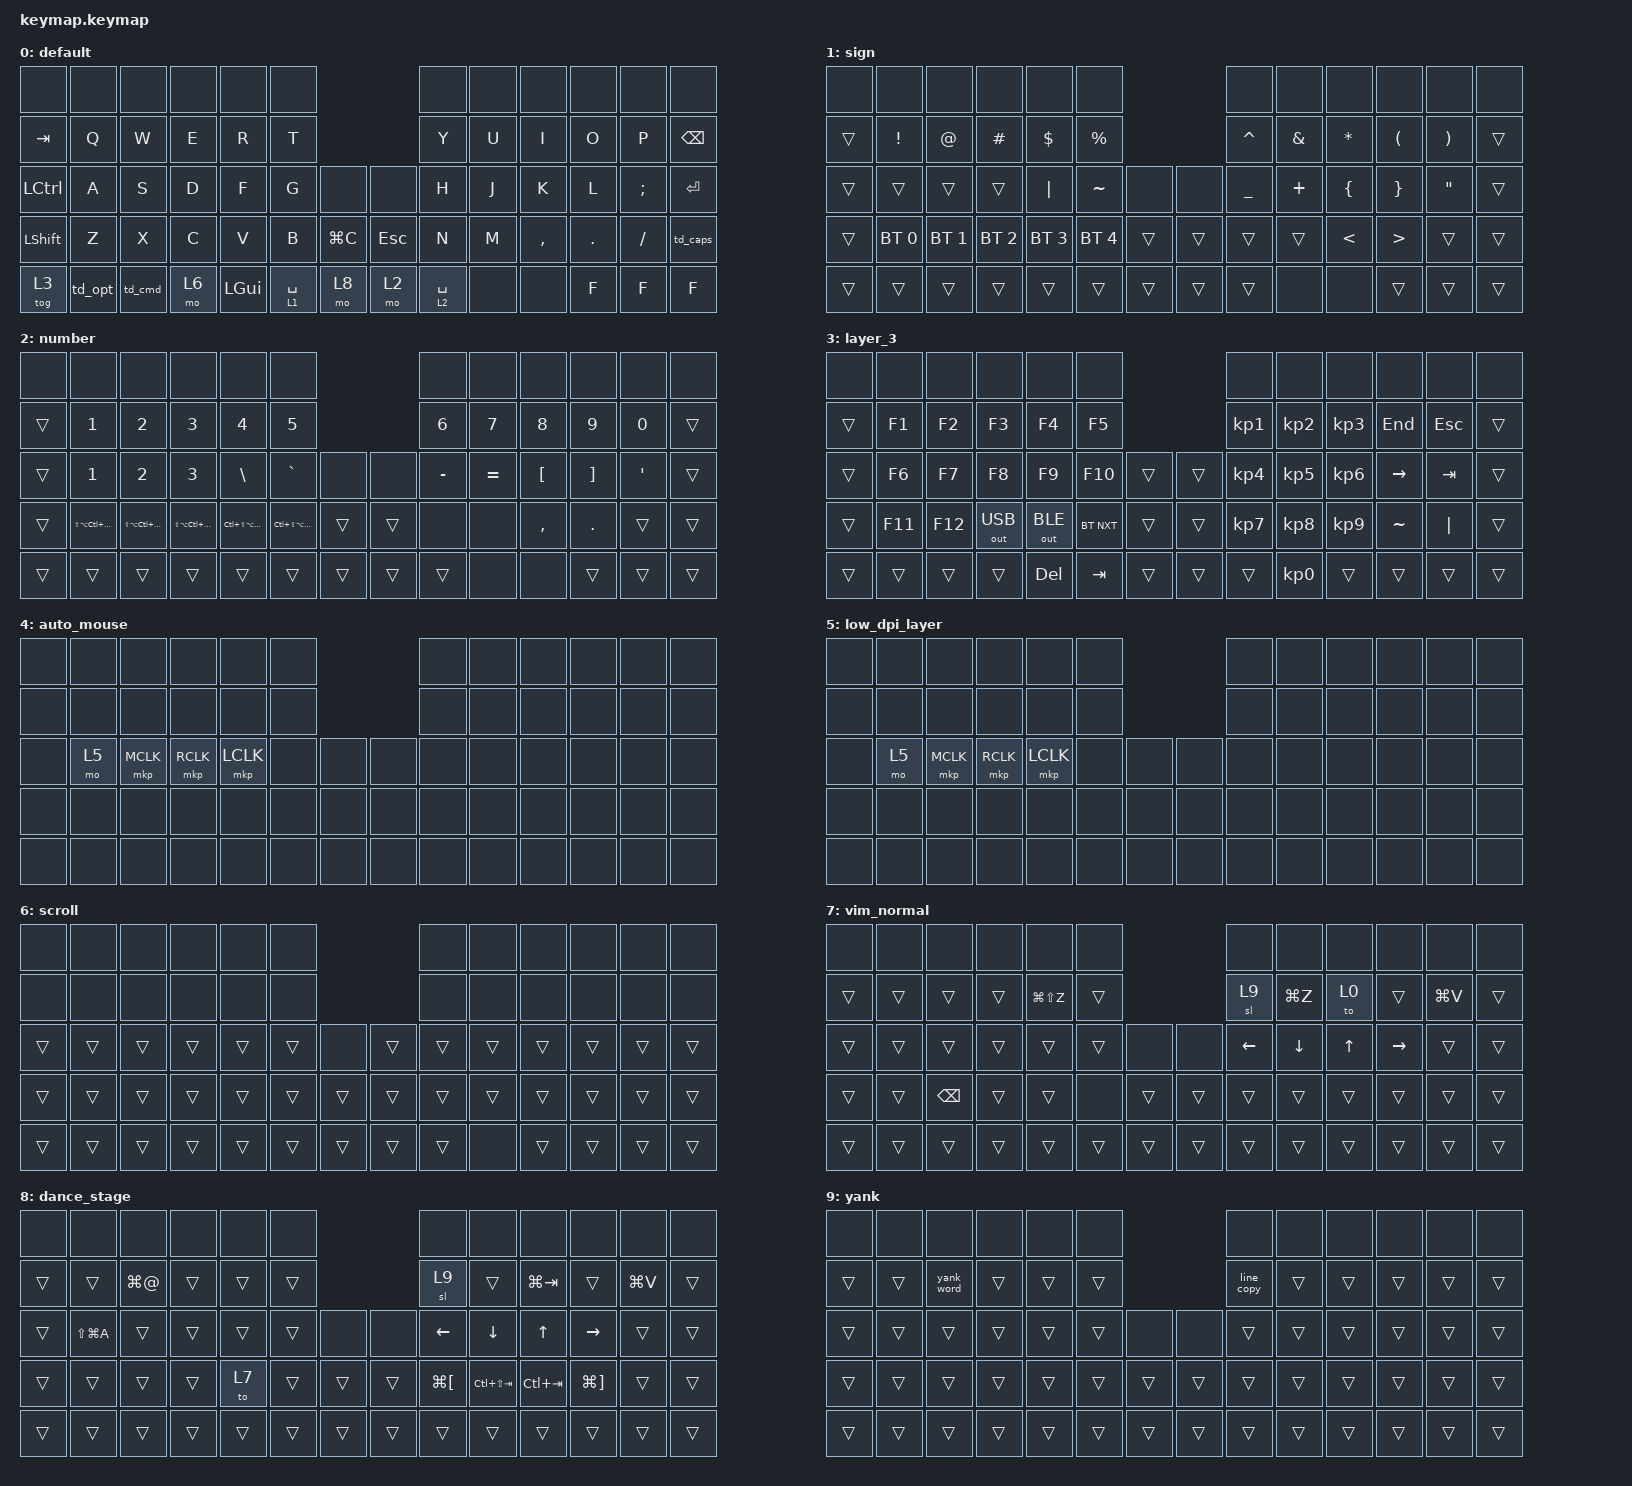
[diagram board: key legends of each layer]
#include <behaviors.dtsi>
#include <dt-bindings/zmk/bt.h>
#include <dt-bindings/zmk/keys.h>
#include <dt-bindings/zmk/outputs.h>
#include <dt-bindings/zmk/pointing.h>

#define DEFAULT 0
#define SIGN 1
#define NUMBER 2
#define AUTO_MOUSE 4
#define LOW_DPI 5
#define SCROLL 6
#define VIM_NORMAL 7
#define STAGE 8
#define YANK 9
#define TAPPING_TERM_MS_FAST 180
#define TAPPING_TERM_MS_SLOW 250
#define COMBO_TIMEOUT_MS 150

&lt { flavor = "hold-preferred"; };

/ {
    combos {
        compatible = "zmk,combos";

        escape_combo {
            timeout-ms = <COMBO_TIMEOUT_MS>;
            key-positions = <24 23>;
            bindings = <&kp ESCAPE>;
        };

        kana {
            timeout-ms = <COMBO_TIMEOUT_MS>;
            bindings = <&kp LANG1>;
            key-positions = <24 37>;
        };

        eiji {
            timeout-ms = <COMBO_TIMEOUT_MS>;
            bindings = <&kp LANG2>;
            key-positions = <60 24>;
        };
    };

    macros {
        line_copy: line_copy {
            compatible = "zmk,behavior-macro";
            #binding-cells = <0>;
            bindings = <&kp HOME &kp LS(END) &kp LG(C)>;
        };

        yank_word: yank_word {
            compatible = "zmk,behavior-macro";
            #binding-cells = <0>;
            bindings =
                <&macro_press>,
                <&kp LCTRL>,
                <&macro_press>,
                <&kp LSHIFT &kp RIGHT>,
                <&macro_release>,
                <&kp LSHIFT>,
                <&macro_release>,
                <&kp LCTRL>,
                <&macro_wait_time 20>,
                <&kp LG(C)>;
        };
    };

    behaviors {
        td_vim: td_v_layer {
            compatible = "zmk,behavior-tap-dance";
            #binding-cells = <0>;
            tapping-term-ms = <TAPPING_TERM_MS_FAST>;
            bindings = <&tog 7>;
        };

        td_caps: tap_dance_caps_word {
            compatible = "zmk,behavior-tap-dance";
            #binding-cells = <0>;
            tapping-term-ms = <TAPPING_TERM_MS_SLOW>;
            bindings = <&sk LEFT_SHIFT>, <&caps_word>;
        };

        td_cmd: tap_dance_command {
            compatible = "zmk,behavior-tap-dance";
            #binding-cells = <0>;
            bindings = <&kp LEFT_GUI>, <&sk LEFT_GUI>;

            tapping-term-ms = <TAPPING_TERM_MS_SLOW>;
            label = "TD_CMD";
        };

        td_opt: tap_dance_option {
            compatible = "zmk,behavior-tap-dance";
            #binding-cells = <0>;
            bindings = <&kp LEFT_ALT>, <&sk LEFT_ALT>;

            tapping-term-ms = <TAPPING_TERM_MS_SLOW>;
            label = "TD_OPT";
        };

        td_app_switch: tap_dance_app_switch {
            compatible = "zmk,behavior-tap-dance";
            #binding-cells = <0>;
            bindings = <&sk LEFT_GUI>, <&sk TAB>;

            tapping-term-ms = <TAPPING_TERM_MS_SLOW>;
            label = "TD_APP_SWITCH";
        };
    };

    keymap {
        compatible = "zmk,keymap";

        default {
            bindings = <
&none       &none    &none    &none  &none         &none                            &none        &none  &none      &none    &none          &none
&kp TAB     &kp Q    &kp W    &kp E  &kp R         &kp T                            &kp Y        &kp U  &kp I      &kp O    &kp P          &kp BSPC
&kp LCTRL   &kp A    &kp S    &kp D  &kp F         &kp G        &none      &none    &kp H        &kp J  &kp K      &kp L    &kp SEMICOLON  &kp RET
&kp LSHIFT  &kp Z    &kp X    &kp C  &kp V         &kp B        &kp LG(C)  &kp ESC  &kp N        &kp M  &kp COMMA  &kp DOT  &kp FSLH       &td_caps
&tog 3      &td_opt  &td_cmd  &mo 6  &kp LEFT_GUI  &lt 1 SPACE  &mo 8      &mo 2    &lt 2 SPACE  &none  &none      &kp F    &kp F          &kp F
            >;
        };

        sign {
            bindings = <
&none   &none            &none         &none         &none         &none                         &none      &none          &none         &none     &none     &none
&trans  &kp EXCLAMATION  &kp AT        &kp HASH      &kp DOLLAR    &kp PERCENT                   &kp CARET  &kp AMPERSAND  &kp ASTERISK  &kp LPAR  &kp RPAR  &trans
&trans  &trans           &trans        &trans        &kp PIPE      &kp TILDE     &none   &none   &kp UNDER  &kp PLUS       &kp LBRC      &kp RBRC  &kp DQT   &trans
&trans  &bt BT_SEL 0     &bt BT_SEL 1  &bt BT_SEL 2  &bt BT_SEL 3  &bt BT_SEL 4  &trans  &trans  &trans     &trans         &kp LT        &kp GT    &trans    &trans
&trans  &trans           &trans        &trans        &trans        &trans        &trans  &trans  &trans     &none          &none         &trans    &trans    &trans
            >;
        };

        number {
            bindings = <
&none   &none                   &none                   &none                   &none                   &none                                   &none      &none      &none             &none              &none             &none
&trans  &kp NUMBER_1            &kp NUMBER_2            &kp N3                  &kp N4                  &kp N5                                  &kp N6     &kp N7     &kp N8            &kp N9             &kp N0            &trans
&trans  &kp N1                  &kp N2                  &kp N3                  &kp BSLH                &kp GRAVE               &none   &none   &kp MINUS  &kp EQUAL  &kp LEFT_BRACKET  &kp RIGHT_BRACKET  &kp SINGLE_QUOTE  &trans
&trans  &kp LS(LA(LC(LG(F1))))  &kp LS(LA(LC(LG(F2))))  &kp LS(LA(LC(LG(F3))))  &kp LC(LS(LA(LG(F4))))  &kp LC(LS(LA(LG(F5))))  &trans  &trans  &none      &none      &kp COMMA         &kp DOT            &trans            &trans
&trans  &trans                  &trans                  &trans                  &trans                  &trans                  &trans  &trans  &trans     &none      &none             &trans             &trans            &trans
            >;
        };

        layer_3 {
            bindings = <
&none   &none    &none    &none         &none         &none                       &none      &none      &none      &none      &none       &none
&trans  &kp F1   &kp F2   &kp F3        &kp F4        &kp F5                      &kp KP_N1  &kp KP_N2  &kp KP_N3  &kp END    &kp ESCAPE  &trans
&trans  &kp F6   &kp F7   &kp F8        &kp F9        &kp F10     &trans  &trans  &kp KP_N4  &kp KP_N5  &kp KP_N6  &kp RIGHT  &kp TAB     &trans
&trans  &kp F11  &kp F12  &out OUT_USB  &out OUT_BLE  &bt BT_NXT  &trans  &trans  &kp KP_N7  &kp KP_N8  &kp KP_N9  &kp TILDE  &kp PIPE    &trans
&trans  &trans   &trans   &trans        &kp DELETE    &kp TAB     &trans  &trans  &trans     &kp KP_N0  &trans     &trans     &trans      &trans
            >;
        };

        auto_mouse {
            bindings = <
&none  &none  &none      &none      &none      &none                &none  &none  &none  &none  &none  &none
&none  &none  &none      &none      &none      &none                &none  &none  &none  &none  &none  &none
&none  &mo 5  &mkp MCLK  &mkp RCLK  &mkp LCLK  &none  &none  &none  &none  &none  &none  &none  &none  &none
&none  &none  &none      &none      &none      &none  &none  &none  &none  &none  &none  &none  &none  &none
&none  &none  &none      &none      &none      &none  &none  &none  &none  &none  &none  &none  &none  &none
            >;
        };

        low_dpi_layer {
            bindings = <
&none  &none  &none      &none      &none      &none                &none  &none  &none  &none  &none  &none
&none  &none  &none      &none      &none      &none                &none  &none  &none  &none  &none  &none
&none  &mo 5  &mkp MCLK  &mkp RCLK  &mkp LCLK  &none  &none  &none  &none  &none  &none  &none  &none  &none
&none  &none  &none      &none      &none      &none  &none  &none  &none  &none  &none  &none  &none  &none
&none  &none  &none      &none      &none      &none  &none  &none  &none  &none  &none  &none  &none  &none
            >;
        };

        scroll {
            bindings = <
&none   &none   &none   &none   &none   &none                   &none   &none   &none   &none   &none   &none
&none   &none   &none   &none   &none   &none                   &none   &none   &none   &none   &none   &none
&trans  &trans  &trans  &trans  &trans  &trans  &none   &trans  &trans  &trans  &trans  &trans  &trans  &trans
&trans  &trans  &trans  &trans  &trans  &trans  &trans  &trans  &trans  &trans  &trans  &trans  &trans  &trans
&trans  &trans  &trans  &trans  &trans  &trans  &trans  &trans  &trans  &none   &trans  &trans  &trans  &trans
            >;
        };

        vim_normal {
            bindings = <
&none   &none   &none          &none   &none          &none                   &none           &none           &none         &none            &none      &none
&trans  &trans  &trans         &trans  &kp LG(LS(Z))  &trans                  &sl 9           &kp LG(Z)       &to 0         &trans           &kp LG(V)  &trans
&trans  &trans  &trans         &trans  &trans         &trans  &none   &none   &kp LEFT_ARROW  &kp DOWN_ARROW  &kp UP_ARROW  &kp RIGHT_ARROW  &trans     &trans
&trans  &trans  &kp BACKSPACE  &trans  &trans         &none   &trans  &trans  &trans          &trans          &trans        &trans           &trans     &trans
&trans  &trans  &trans         &trans  &trans         &trans  &trans  &trans  &trans          &trans          &trans        &trans           &trans     &trans
            >;
        };

        dance_stage {
            bindings = <
&none   &none          &none       &none   &none   &none                   &none         &none            &none        &none         &none      &none
&trans  &trans         &kp LG(AT)  &trans  &trans  &trans                  &sl 9         &trans           &kp LG(TAB)  &trans        &kp LG(V)  &trans
&trans  &kp LS(LG(A))  &trans      &trans  &trans  &trans  &none   &none   &kp LEFT      &kp DOWN         &kp UP       &kp RIGHT     &trans     &trans
&trans  &trans         &trans      &trans  &to 7   &trans  &trans  &trans  &kp LG(LBKT)  &kp LC(LS(TAB))  &kp LC(TAB)  &kp LG(RBKT)  &trans     &trans
&trans  &trans         &trans      &trans  &trans  &trans  &trans  &trans  &trans        &trans           &trans       &trans        &trans     &trans
            >;
        };

        yank {
            bindings = <
&none   &none   &none       &none   &none   &none                   &none       &none   &none   &none   &none   &none
&trans  &trans  &yank_word  &trans  &trans  &trans                  &line_copy  &trans  &trans  &trans  &trans  &trans
&trans  &trans  &trans      &trans  &trans  &trans  &none   &none   &trans      &trans  &trans  &trans  &trans  &trans
&trans  &trans  &trans      &trans  &trans  &trans  &trans  &trans  &trans      &trans  &trans  &trans  &trans  &trans
&trans  &trans  &trans      &trans  &trans  &trans  &trans  &trans  &trans      &trans  &trans  &trans  &trans  &trans
            >;
        };
    };
};

// マウス操作したらtemp layerを延長

&mkp_input_listener { input-processors = <&zip_temp_layer AUTO_MOUSE 1000>; };
